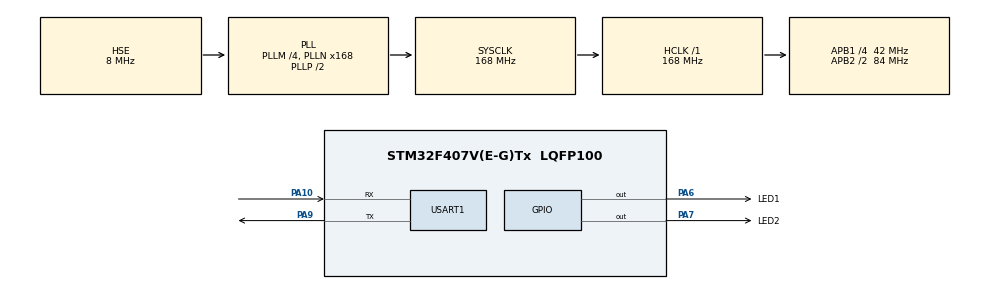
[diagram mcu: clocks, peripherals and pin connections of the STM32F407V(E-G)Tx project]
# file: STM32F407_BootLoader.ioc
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Mcu.Family=STM32F4
Mcu.Name=STM32F407V(E-G)Tx
Mcu.Package=LQFP100
NVIC.PriorityGroup=NVIC_PRIORITYGROUP_4
NVIC.USART1_IRQn=true\:0\:0\:false\:false\:true\:true\:true\:true
PA10.Mode=Asynchronous
PA10.Signal=USART1_RX
PA13.Mode=Serial_Wire
PA13.Signal=SYS_JTMS-SWDIO
PA14.Mode=Serial_Wire
PA14.Signal=SYS_JTCK-SWCLK
PA6.GPIO_Label=LED1
PA6.Signal=GPIO_Output
PA7.GPIO_Label=LED2
PA7.Signal=GPIO_Output
PA9.Mode=Asynchronous
PA9.Signal=USART1_TX
PC14-OSC32_IN.Mode=LSE-External-Oscillator
PC14-OSC32_IN.Signal=RCC_OSC32_IN
PC15-OSC32_OUT.Mode=LSE-External-Oscillator
PC15-OSC32_OUT.Signal=RCC_OSC32_OUT
PH0-OSC_IN.Mode=HSE-External-Oscillator
PH0-OSC_IN.Signal=RCC_OSC_IN
PH1-OSC_OUT.Mode=HSE-External-Oscillator
PH1-OSC_OUT.Signal=RCC_OSC_OUT
ProjectManager.HeapSize=0x200
ProjectManager.StackSize=0x400
ProjectManager.TargetToolchain=MDK-ARM V5.32
RCC.48MHZClocksFreq_Value=84000000
RCC.AHBFreq_Value=168000000
RCC.APB1CLKDivider=RCC_HCLK_DIV4
RCC.APB1Freq_Value=42000000
RCC.APB1TimFreq_Value=84000000
RCC.APB2CLKDivider=RCC_HCLK_DIV2
RCC.APB2Freq_Value=84000000
RCC.APB2TimFreq_Value=168000000
RCC.CortexFreq_Value=168000000
RCC.HCLKFreq_Value=168000000
RCC.HSE_VALUE=8000000
RCC.HSI_VALUE=16000000
RCC.PLLM=4
RCC.PLLN=168
RCC.PLLSourceVirtual=RCC_PLLSOURCE_HSE
RCC.SYSCLKFreq_VALUE=168000000
RCC.SYSCLKSource=RCC_SYSCLKSOURCE_PLLCLK
RCC.VCOOutputFreq_Value=336000000
USART1.VirtualMode=VM_ASYNC
board=custom

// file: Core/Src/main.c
/* USER CODE BEGIN Header */
/**
  ******************************************************************************
  * @file           : main.c
  * @brief          : Main program body
  ******************************************************************************
  * @attention
  *
  * Copyright (c) 2025 STMicroelectronics.
  * All rights reserved.
  *
  * This software is licensed under terms that can be found in the LICENSE file
  * in the root directory of this software component.
  * If no LICENSE file comes with this software, it is provided AS-IS.
  *
  ******************************************************************************
  */
/* USER CODE END Header */
#include "main.h"
#include "usart.h"
#include "gpio.h"

/* USER CODE BEGIN Includes */
#include "bsp_bootloader.h"
/* USER CODE END Includes */

void SystemClock_Config(void);

int main(void)
{

  /* MCU Configuration--------------------------------------------------------*/

  /* Reset of all peripherals, Initializes the Flash interface and the Systick. */
  HAL_Init();

  /* Configure the system clock */
  SystemClock_Config();

  /* Initialize all configured peripherals */
  MX_GPIO_Init();
  MX_USART1_UART_Init();
  /* USER CODE BEGIN 2 */

  /* 初始化BOOTLOADER */
  BOOTLOADER_Init();

  /* 检查是否有有效的应用程序，如果有且超过设定时间则跳转 */
  uint32_t l_u32StartTime = HAL_GetTick();
  const uint32_t l_u32BootDelayMs = 3000; // 3秒启动延时升级时间
  uint8_t l_u8BOOTLOADERMode = 0; // 0: 正常模式，1: 升级模式

  /* USER CODE END 2 */

  /* Infinite loop */
  while (1)
  {

    /* USER CODE BEGIN 3 */

    /* 处理BOOTLOADER通信 */
    BOOTLOADER_Process();
    HAL_GPIO_TogglePin(LED1_GPIO_Port,LED1_Pin);
    HAL_Delay(500);

    /* 检查是否进入升级模式 */
    if (BOOTLOADER_IsUpgradeMode()) {
      l_u8BOOTLOADERMode = 1; // 进入升级模式
      l_u32StartTime = HAL_GetTick(); // 重置计时器
    } else if (l_u8BOOTLOADERMode) {
      /* 如果之前在升级模式，但现在不在了，说明升级完成了 */
      l_u8BOOTLOADERMode = 0; // 退出升级模式

      l_u32StartTime = HAL_GetTick(); // 重置计时器，使用更短的延时
    }

    /* 检查启动延时，如果超时且有有效应用程序且不在升级模式则跳转 */
    if (!l_u8BOOTLOADERMode && (HAL_GetTick() - l_u32StartTime) > l_u32BootDelayMs) {
      if (BOOTLOADER_CheckAppValid()) {
        /* 发送调试信息，表明即将跳转 */
        /* 这里会在 BOOTLOADER_CheckAppValid() 中发送调试信息 */

        /* 短暂延时确保调试信息发送完成 */
        HAL_Delay(200);

        /* 跳转到应用程序*/
        BOOTLOADER_JumpToApplication();
      }
      /* 如果没有有效应用程序，重置计时器继续等待升级 */
      l_u32StartTime = HAL_GetTick();
    }
  }
  /* USER CODE END 3 */
}

void SystemClock_Config(void)
{
  RCC_OscInitTypeDef RCC_OscInitStruct = {0};
  RCC_ClkInitTypeDef RCC_ClkInitStruct = {0};

  /** Configure the main internal regulator output voltage
  */
  __HAL_RCC_PWR_CLK_ENABLE();
  __HAL_PWR_VOLTAGESCALING_CONFIG(PWR_REGULATOR_VOLTAGE_SCALE1);

  /** Initializes the RCC Oscillators according to the specified parameters
  * in the RCC_OscInitTypeDef structure.
  */
  RCC_OscInitStruct.OscillatorType = RCC_OSCILLATORTYPE_HSE;
  RCC_OscInitStruct.HSEState = RCC_HSE_ON;
  RCC_OscInitStruct.PLL.PLLState = RCC_PLL_ON;
  RCC_OscInitStruct.PLL.PLLSource = RCC_PLLSOURCE_HSE;
  RCC_OscInitStruct.PLL.PLLM = 4;
  RCC_OscInitStruct.PLL.PLLN = 168;
  RCC_OscInitStruct.PLL.PLLP = RCC_PLLP_DIV2;
  RCC_OscInitStruct.PLL.PLLQ = 4;
  if (HAL_RCC_OscConfig(&RCC_OscInitStruct) != HAL_OK)
  {
    Error_Handler();
  }

  /** Initializes the CPU, AHB and APB buses clocks
  */
  RCC_ClkInitStruct.ClockType = RCC_CLOCKTYPE_HCLK|RCC_CLOCKTYPE_SYSCLK
                              |RCC_CLOCKTYPE_PCLK1|RCC_CLOCKTYPE_PCLK2;
  RCC_ClkInitStruct.SYSCLKSource = RCC_SYSCLKSOURCE_PLLCLK;
  RCC_ClkInitStruct.AHBCLKDivider = RCC_SYSCLK_DIV1;
  RCC_ClkInitStruct.APB1CLKDivider = RCC_HCLK_DIV4;
  RCC_ClkInitStruct.APB2CLKDivider = RCC_HCLK_DIV2;

  if (HAL_RCC_ClockConfig(&RCC_ClkInitStruct, FLASH_LATENCY_5) != HAL_OK)
  {
    Error_Handler();
  }
}

void Error_Handler(void)
{
  __disable_irq();
  while (1)
  {
  }
}
